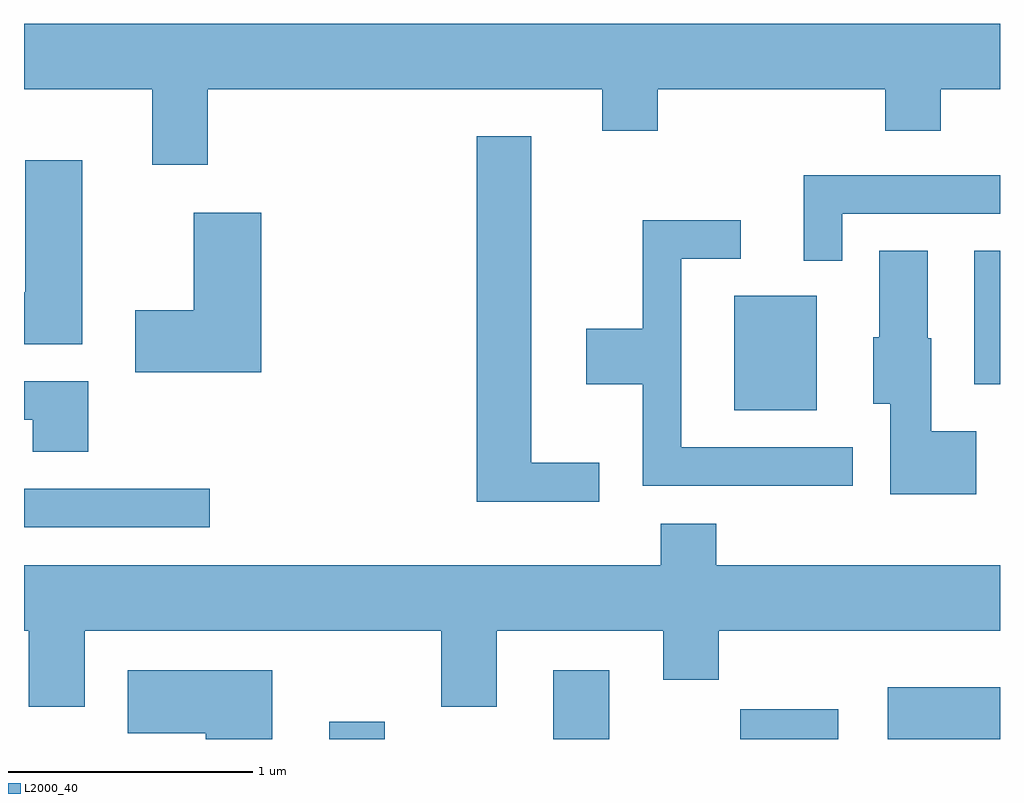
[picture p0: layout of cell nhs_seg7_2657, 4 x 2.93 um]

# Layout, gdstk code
import gdstk
lib = gdstk.Library(unit=1e-6, precision=1e-09)
def R(c, l, rs):  # rectangles x0, y0, x1, y1
    for r in rs: c.add(gdstk.rectangle(r[:2], r[2:], *l))
def P(c, l, *ps):  # polygons
    for p in ps: c.add(gdstk.Polygon(p, *l))
L2000_40 = (2000, 40)

nhs_seg7_2657 = lib.new_cell('nhs_seg7_2657')
R(nhs_seg7_2657, L2000_40, [(266.861,1778.252,267.089,1778.324), (267.781,1778.252,268.009,1778.534), (268.546,1778.252,268.949,1778.374), (269.151,1778.252,269.611,1778.464), (265.611,1779.121,266.373,1779.279), (268.521,1779.601,268.859,1780.069), (269.506,1779.706,269.611,1780.254)])
P(nhs_seg7_2657, L2000_40, [(266.364,1780.916),(267.981,1780.916),(267.981,1780.746),(268.209,1780.746),(268.209,1780.916),(269.141,1780.916),(269.141,1780.746),(269.369,1780.746),(269.369,1780.916),(269.611,1780.916),(269.611,1781.184),(265.611,1781.184),(265.611,1780.916),(266.136,1780.916),(266.136,1780.606),(266.364,1780.606)],
  [(267.968,1779.384),(267.689,1779.384),(267.689,1780.724),(267.466,1780.724),(267.466,1779.226),(267.968,1779.226)],
  [(265.849,1780.624),(265.616,1780.624),(265.616,1780.084),(265.611,1780.084),(265.611,1779.871),(265.849,1779.871)],
  [(268.964,1780.406),(269.611,1780.406),(269.611,1780.564),(268.806,1780.564),(268.806,1780.213),(268.964,1780.213)],
  [(266.584,1780.409),(266.306,1780.409),(266.306,1780.009),(266.066,1780.009),(266.066,1779.756),(266.584,1779.756)],
  [(269.008,1779.449),(268.304,1779.449),(268.304,1780.221),(268.548,1780.221),(268.548,1780.379),(268.146,1780.379),(268.146,1779.934),(267.916,1779.934),(267.916,1779.706),(268.146,1779.706),(268.146,1779.291),(269.008,1779.291)],
  [(269.514,1779.514),(269.329,1779.514),(269.329,1779.895),(269.314,1779.895),(269.314,1780.254),(269.116,1780.254),(269.116,1779.899),(269.091,1779.899),(269.091,1779.626),(269.161,1779.626),(269.161,1779.256),(269.514,1779.256)],
  [(265.874,1779.719),(265.611,1779.719),(265.611,1779.561),(265.646,1779.561),(265.646,1779.431),(265.874,1779.431)],
  [(265.859,1778.696),(267.321,1778.696),(267.321,1778.386),(267.549,1778.386),(267.549,1778.696),(268.231,1778.696),(268.231,1778.496),(268.459,1778.496),(268.459,1778.696),(269.611,1778.696),(269.611,1778.964),(268.449,1778.964),(268.449,1779.134),(268.221,1779.134),(268.221,1778.964),(265.611,1778.964),(265.611,1778.696),(265.631,1778.696),(265.631,1778.386),(265.859,1778.386)],
  [(266.629,1778.534),(266.036,1778.534),(266.036,1778.276),(266.356,1778.276),(266.356,1778.252),(266.629,1778.252)])

lib.write_gds('nhs_seg7_2657.gds')
